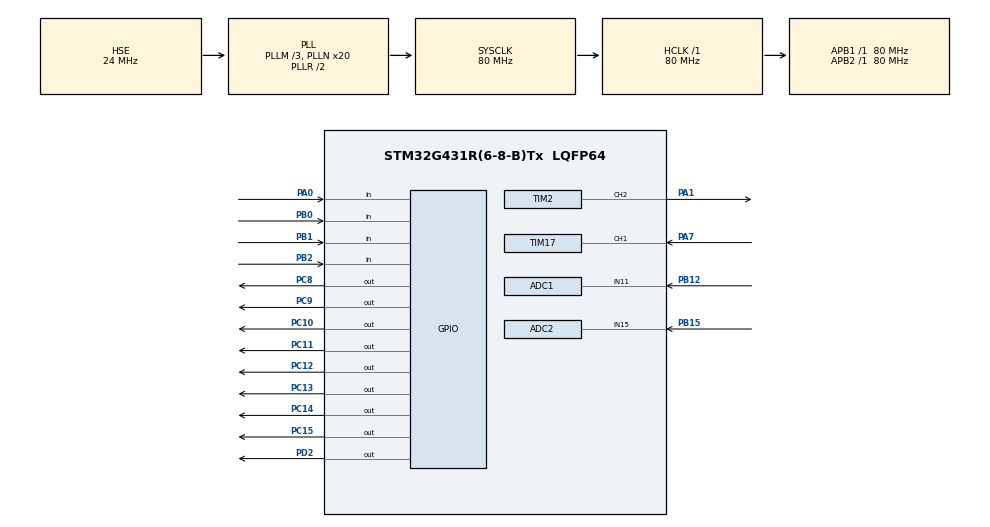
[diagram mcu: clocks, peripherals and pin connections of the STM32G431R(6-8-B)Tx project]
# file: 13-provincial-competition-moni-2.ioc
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ADC1.Channel-0\#ChannelRegularConversion=ADC_CHANNEL_11
ADC1.NbrOfConversionFlag=1
ADC1.OffsetNumber-0\#ChannelRegularConversion=ADC_OFFSET_NONE
ADC1.Rank-0\#ChannelRegularConversion=1
ADC1.SamplingTime-0\#ChannelRegularConversion=ADC_SAMPLETIME_2CYCLES_5
ADC1.master=1
ADC2.Channel-0\#ChannelRegularConversion=ADC_CHANNEL_15
ADC2.NbrOfConversionFlag=1
ADC2.OffsetNumber-0\#ChannelRegularConversion=ADC_OFFSET_NONE
ADC2.Rank-0\#ChannelRegularConversion=1
ADC2.SamplingTime-0\#ChannelRegularConversion=ADC_SAMPLETIME_2CYCLES_5
Mcu.Family=STM32G4
Mcu.Name=STM32G431R(6-8-B)Tx
Mcu.Package=LQFP64
NVIC.PriorityGroup=NVIC_PRIORITYGROUP_4
NVIC.TIM1_TRG_COM_TIM17_IRQn=true\:0\:0\:false\:false\:true\:true\:true\:true
PA0.GPIO_PuPd=GPIO_PULLUP
PA0.Signal=GPIO_Input
PA1.GPIO_PuPd=GPIO_NOPULL
PA1.GPIO_Speed=GPIO_SPEED_FREQ_LOW
PA1.Signal=S_TIM2_CH2
PA13.Mode=Serial_Wire
PA13.Signal=SYS_JTMS-SWDIO
PA14.Mode=Serial_Wire
PA14.Signal=SYS_JTCK-SWCLK
PA7.GPIO_Speed=GPIO_SPEED_FREQ_LOW
PA7.Signal=S_TIM17_CH1
PB0.GPIO_PuPd=GPIO_PULLUP
PB0.Signal=GPIO_Input
PB1.GPIO_PuPd=GPIO_PULLUP
PB1.Signal=GPIO_Input
PB12.Mode=IN11-Single-Ended
PB12.Signal=ADC1_IN11
PB15.Mode=IN15-Single-Ended
PB15.Signal=ADC2_IN15
PB2.GPIO_PuPd=GPIO_PULLUP
PB2.Signal=GPIO_Input
PC10.PinState=GPIO_PIN_SET
PC10.Signal=GPIO_Output
PC11.PinState=GPIO_PIN_SET
PC11.Signal=GPIO_Output
PC12.PinState=GPIO_PIN_SET
PC12.Signal=GPIO_Output
PC13.PinState=GPIO_PIN_SET
PC13.Signal=GPIO_Output
PC14-OSC32_IN.PinState=GPIO_PIN_SET
PC14-OSC32_IN.Signal=GPIO_Output
PC15-OSC32_OUT.PinState=GPIO_PIN_SET
PC15-OSC32_OUT.Signal=GPIO_Output
PC8.PinState=GPIO_PIN_SET
PC8.Signal=GPIO_Output
PC9.PinState=GPIO_PIN_SET
PC9.Signal=GPIO_Output
PD2.Signal=GPIO_Output
PF0-OSC_IN.Mode=HSE-External-Oscillator
PF0-OSC_IN.Signal=RCC_OSC_IN
PF1-OSC_OUT.Mode=HSE-External-Oscillator
PF1-OSC_OUT.Signal=RCC_OSC_OUT
ProjectManager.HeapSize=0x200
ProjectManager.StackSize=0x400
ProjectManager.TargetToolchain=MDK-ARM V5.32
RCC.ADC12Freq_Value=80000000
RCC.AHBFreq_Value=80000000
RCC.APB1Freq_Value=80000000
RCC.APB1TimFreq_Value=80000000
RCC.APB2Freq_Value=80000000
RCC.APB2TimFreq_Value=80000000
RCC.CortexFreq_Value=80000000
RCC.EXTERNAL_CLOCK_VALUE=12288000
RCC.HCLKFreq_Value=80000000
RCC.HSE_VALUE=24000000
RCC.HSI48_VALUE=48000000
RCC.HSI_VALUE=16000000
RCC.LSE_VALUE=32768
RCC.PLLM=RCC_PLLM_DIV3
RCC.PLLN=20
RCC.PLLSourceVirtual=RCC_PLLSOURCE_HSE
RCC.SYSCLKFreq_VALUE=80000000
RCC.SYSCLKSource=RCC_SYSCLKSOURCE_PLLCLK
RCC.USBFreq_Value=80000000
RCC.VCOOutputFreq_Value=160000000
SH.S_TIM17_CH1.0=TIM17_CH1,Input_Capture1_from_TI1
SH.S_TIM2_CH2.0=TIM2_CH2,PWM Generation2 CH2
TIM17.Channel=TIM_CHANNEL_1
TIM17.Prescaler=80-1
TIM2.AutoReloadPreload=TIM_AUTORELOAD_PRELOAD_DISABLE
TIM2.Channel-PWM\ Generation2\ CH2=TIM_CHANNEL_2
TIM2.PeriodNoDither=100-1
TIM2.Prescaler=800-1
VP_SYS_VS_DBSignals.Mode=DisableDeadBatterySignals
VP_TIM17_VS_ClockSourceINT.Mode=Enable_Timer
board=custom

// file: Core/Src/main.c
/* USER CODE BEGIN Header */
/**
  ******************************************************************************
  * @file           : main.c
  * @brief          : Main program body
  ******************************************************************************
  * @attention
  *
  * Copyright (c) 2025 STMicroelectronics.
  * All rights reserved.
  *
  * This software is licensed under terms that can be found in the LICENSE file
  * in the root directory of this software component.
  * If no LICENSE file comes with this software, it is provided AS-IS.
  *
  ******************************************************************************
  */
/* USER CODE END Header */
#include "main.h"
#include "adc.h"
#include "tim.h"
#include "gpio.h"

/* USER CODE BEGIN Includes */
#include "stdio.h"
#include "stdint.h"
#include "string.h"
#include "lcd.h"
/* USER CODE END Includes */

/* USER CODE BEGIN PV */
char text[20];
double VR37=0, VR38=0, VP1=2.4, VP2=2.4;
uint8_t setting_flag=0;
uint8_t key_val, key_up, key_down, key_last_val;
uint32_t fre=1, capture_val;
/* USER CODE END PV */

void SystemClock_Config(void);
/* USER CODE BEGIN PFP */
void LCD_Proc(void);
void LED_Proc(void);
void KEY_Proc(void);
void LED_Show(uint8_t led, uint8_t mode);
/* USER CODE END PFP */

int main(void)
{

  /* MCU Configuration--------------------------------------------------------*/

  /* Reset of all peripherals, Initializes the Flash interface and the Systick. */
  HAL_Init();

  /* Configure the system clock */
  SystemClock_Config();

  /* Initialize all configured peripherals */
  MX_GPIO_Init();
  MX_ADC1_Init();
  MX_ADC2_Init();
  MX_TIM2_Init();
  MX_TIM17_Init();
  /* USER CODE BEGIN 2 */
    // LCD
    LCD_Init();
    LCD_Clear(Black);
    LCD_SetBackColor(Black);
    LCD_SetTextColor(White);
    // TIM
    HAL_TIM_PWM_Start(&htim2, TIM_CHANNEL_2);
    HAL_TIM_IC_Start_IT(&htim17, TIM_CHANNEL_1);
    // ADC
    HAL_ADCEx_Calibration_Start(&hadc1, ADC_SINGLE_ENDED);
    HAL_ADCEx_Calibration_Start(&hadc2, ADC_SINGLE_ENDED);
  /* USER CODE END 2 */

  /* Infinite loop */
  /* USER CODE BEGIN WHILE */
  while (1)
  {
      TIM17->CCR1 = 100;  // 写入任意值
      TIM17->SR |= TIM_SR_CC1IF;  // 手动置位中断标志
      HAL_TIM_IRQHandler(&htim17);  // 调用中断处理函数
      LCD_Proc();
      LED_Proc();
      KEY_Proc();
    /* USER CODE END WHILE */

  }
}

void SystemClock_Config(void)
{
  RCC_OscInitTypeDef RCC_OscInitStruct = {0};
  RCC_ClkInitTypeDef RCC_ClkInitStruct = {0};

  /** Configure the main internal regulator output voltage
  */
  HAL_PWREx_ControlVoltageScaling(PWR_REGULATOR_VOLTAGE_SCALE1);

  /** Initializes the RCC Oscillators according to the specified parameters
  * in the RCC_OscInitTypeDef structure.
  */
  RCC_OscInitStruct.OscillatorType = RCC_OSCILLATORTYPE_HSE;
  RCC_OscInitStruct.HSEState = RCC_HSE_ON;
  RCC_OscInitStruct.PLL.PLLState = RCC_PLL_ON;
  RCC_OscInitStruct.PLL.PLLSource = RCC_PLLSOURCE_HSE;
  RCC_OscInitStruct.PLL.PLLM = RCC_PLLM_DIV3;
  RCC_OscInitStruct.PLL.PLLN = 20;
  RCC_OscInitStruct.PLL.PLLP = RCC_PLLP_DIV2;
  RCC_OscInitStruct.PLL.PLLQ = RCC_PLLQ_DIV2;
  RCC_OscInitStruct.PLL.PLLR = RCC_PLLR_DIV2;
  if (HAL_RCC_OscConfig(&RCC_OscInitStruct) != HAL_OK)
  {
    Error_Handler();
  }

  /** Initializes the CPU, AHB and APB buses clocks
  */
  RCC_ClkInitStruct.ClockType = RCC_CLOCKTYPE_HCLK|RCC_CLOCKTYPE_SYSCLK
                              |RCC_CLOCKTYPE_PCLK1|RCC_CLOCKTYPE_PCLK2;
  RCC_ClkInitStruct.SYSCLKSource = RCC_SYSCLKSOURCE_PLLCLK;
  RCC_ClkInitStruct.AHBCLKDivider = RCC_SYSCLK_DIV1;
  RCC_ClkInitStruct.APB1CLKDivider = RCC_HCLK_DIV1;
  RCC_ClkInitStruct.APB2CLKDivider = RCC_HCLK_DIV1;

  if (HAL_RCC_ClockConfig(&RCC_ClkInitStruct, FLASH_LATENCY_2) != HAL_OK)
  {
    Error_Handler();
  }
}

/* USER CODE BEGIN 4 */
double Get_ADC_Vol(ADC_HandleTypeDef* hadc){
    HAL_ADC_Start(hadc);
    uint32_t temp = HAL_ADC_GetValue(hadc);
    return (temp*3.3/4096);
}
void LCD_Proc(void){
    VR37=Get_ADC_Vol(&hadc2);
    VR38=Get_ADC_Vol(&hadc1);
    if(setting_flag){
        sprintf(text, "        PARA        ");
        LCD_DisplayStringLine(Line2, (uint8_t*)text);
        sprintf(text, "     VP1:%.1fV       ", VP1);
        LCD_DisplayStringLine(Line4, (uint8_t*)text);
        sprintf(text, "     VP2:%.1fV       ", VP2);
        LCD_DisplayStringLine(Line5, (uint8_t*)text);
    }else{
        sprintf(text, "        DATA        ");
        LCD_DisplayStringLine(Line2, (uint8_t*)text);
        sprintf(text, "     VR37:%.2fV     ", VR37);
        LCD_DisplayStringLine(Line4, (uint8_t*)text);
        sprintf(text, "     VR38:%.2fV     ", VR38);
        LCD_DisplayStringLine(Line5, (uint8_t*)text);
    }
    sprintf(text, "Freq: %d", fre);
    LCD_DisplayStringLine(Line8, (uint8_t*)text);
}
void LED_Show(uint8_t led, uint8_t mode){
    if(mode){
        HAL_GPIO_WritePin(GPIOC, led<<8, GPIO_PIN_RESET);
        HAL_GPIO_WritePin(GPIOD, GPIO_PIN_2, GPIO_PIN_SET);
        HAL_GPIO_WritePin(GPIOD, GPIO_PIN_2, GPIO_PIN_RESET);
    }else{
        HAL_GPIO_WritePin(GPIOC, led<<8, GPIO_PIN_SET);
        HAL_GPIO_WritePin(GPIOD, GPIO_PIN_2, GPIO_PIN_SET);
        HAL_GPIO_WritePin(GPIOD, GPIO_PIN_2, GPIO_PIN_RESET);
    }
}
void LED_Proc(void){
    VR37>VP1? LED_Show(0x01, 1):LED_Show(0x01, 0);
    VR38>VP2? LED_Show(0x02, 1):LED_Show(0x02, 0);
//    if(VR37<=VR38){
//        __HAL_TIM_SetAutoreload(&htim2, 5000-1);
//    }else{
//        __HAL_TIM_SetAutoreload(&htim2, 100-1);
//    }
}
uint8_t KEY_Scan(){
    uint8_t key_value=0;
    if(HAL_GPIO_ReadPin(GPIOB, GPIO_PIN_0)==GPIO_PIN_RESET){
        key_value=1;
    }
    if(HAL_GPIO_ReadPin(GPIOB, GPIO_PIN_1)==GPIO_PIN_RESET){
        key_value=2;
    }
    if(HAL_GPIO_ReadPin(GPIOB, GPIO_PIN_2)==GPIO_PIN_RESET){
        key_value=3;
    }
    if(HAL_GPIO_ReadPin(GPIOA, GPIO_PIN_0)==GPIO_PIN_RESET){
        key_value=4;
    }
    return key_value;
}
void KEY_Proc(void){
    key_val=KEY_Scan();
    key_down=key_val&(key_val^key_last_val);
    key_up=~key_val&(key_val^key_last_val);
    if(key_down==1){
        setting_flag^=1;
    }
    if(key_down==2 && setting_flag){
        VP1+=0.3;
        if(VP1>3.3) VP1=0;
    }
    if(key_down==3 && setting_flag){
        VP2+=0.3;
        if(VP2>3.3) VP2=0;
    }
    key_last_val=key_val;
}
void HAL_TIM_IC_CaptureCallback(TIM_HandleTypeDef *htim){
    fre^=1;
    if(htim->Instance==TIM17){
//        capture_val=HAL_TIM_ReadCapturedValue(htim, TIM_CHANNEL_1); // 捕获到上升沿时，将CNT赋值给CCR
//        TIM17->CNT=0;
//        fre=80000000/80/capture_val;
    }
}
/* USER CODE END 4 */

void Error_Handler(void)
{
  __disable_irq();
  while (1)
  {
  }
}
